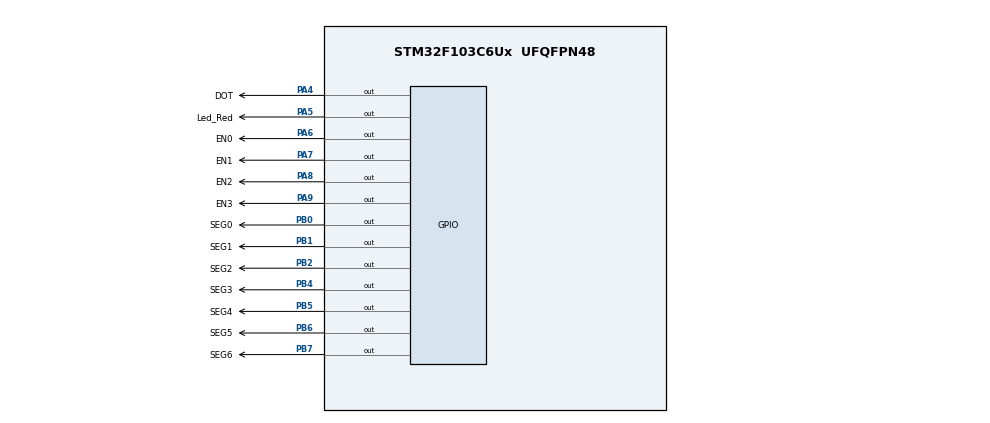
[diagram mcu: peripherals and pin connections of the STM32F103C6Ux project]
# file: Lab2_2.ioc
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Mcu.Family=STM32F1
Mcu.Name=STM32F103C6Ux
Mcu.Package=UFQFPN48
NVIC.PriorityGroup=NVIC_PRIORITYGROUP_4
NVIC.TIM2_IRQn=true\:0\:0\:false\:false\:true\:true\:true
PA4.GPIO_Label=DOT
PA4.Signal=GPIO_Output
PA5.GPIO_Label=Led_Red
PA5.Signal=GPIO_Output
PA6.GPIO_Label=EN0
PA6.Signal=GPIO_Output
PA7.GPIO_Label=EN1
PA7.Signal=GPIO_Output
PA8.GPIO_Label=EN2
PA8.Signal=GPIO_Output
PA9.GPIO_Label=EN3
PA9.Signal=GPIO_Output
PB0.GPIO_Label=SEG0
PB0.Signal=GPIO_Output
PB1.GPIO_Label=SEG1
PB1.Signal=GPIO_Output
PB2.GPIO_Label=SEG2
PB2.Signal=GPIO_Output
PB4.GPIO_Label=SEG3
PB4.Signal=GPIO_Output
PB5.GPIO_Label=SEG4
PB5.Signal=GPIO_Output
PB6.GPIO_Label=SEG5
PB6.Signal=GPIO_Output
PB7.GPIO_Label=SEG6
PB7.Signal=GPIO_Output
ProjectManager.HeapSize=0x200
ProjectManager.StackSize=0x400
ProjectManager.TargetToolchain=STM32CubeIDE
RCC.APB1Freq_Value=8000000
RCC.APB2Freq_Value=8000000
TIM2.Period=9 
TIM2.Prescaler=7999
VP_SYS_VS_ND.Mode=No_Debug
VP_TIM2_VS_ClockSourceINT.Mode=Internal
board=custom

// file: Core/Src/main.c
/* USER CODE BEGIN Header */
/**
  ******************************************************************************
  * @file           : main.c
  * @brief          : Main program body
  ******************************************************************************
  * @attention
  *
  * <h2><center>&copy; Copyright (c) 2022 STMicroelectronics.
  * All rights reserved.</center></h2>
  *
  * This software component is licensed by ST under BSD 3-Clause license,
  * the "License"; You may not use this file except in compliance with the
  * License. You may obtain a copy of the License at:
  *                        opensource.org/licenses/BSD-3-Clause
  *
  ******************************************************************************
  */
/* USER CODE END Header */
#include "main.h"

TIM_HandleTypeDef htim2;

void SystemClock_Config(void);
static void MX_GPIO_Init(void);
static void MX_TIM2_Init(void);

int main(void)
{

  /* MCU Configuration--------------------------------------------------------*/

  /* Reset of all peripherals, Initializes the Flash interface and the Systick. */
  HAL_Init();

  /* Configure the system clock */
  SystemClock_Config();

  /* Initialize all configured peripherals */
  MX_GPIO_Init();
  MX_TIM2_Init();
  /* USER CODE BEGIN 2 */
  HAL_TIM_Base_Start_IT (& htim2 ) ;
  /* USER CODE END 2 */

  /* Infinite loop */
  while (1)
  {

  }
}

void SystemClock_Config(void)
{
  RCC_OscInitTypeDef RCC_OscInitStruct = {0};
  RCC_ClkInitTypeDef RCC_ClkInitStruct = {0};

  /** Initializes the RCC Oscillators according to the specified parameters
  * in the RCC_OscInitTypeDef structure.
  */
  RCC_OscInitStruct.OscillatorType = RCC_OSCILLATORTYPE_HSI;
  RCC_OscInitStruct.HSIState = RCC_HSI_ON;
  RCC_OscInitStruct.HSICalibrationValue = RCC_HSICALIBRATION_DEFAULT;
  RCC_OscInitStruct.PLL.PLLState = RCC_PLL_NONE;
  if (HAL_RCC_OscConfig(&RCC_OscInitStruct) != HAL_OK)
  {
    Error_Handler();
  }
  /** Initializes the CPU, AHB and APB buses clocks
  */
  RCC_ClkInitStruct.ClockType = RCC_CLOCKTYPE_HCLK|RCC_CLOCKTYPE_SYSCLK
                              |RCC_CLOCKTYPE_PCLK1|RCC_CLOCKTYPE_PCLK2;
  RCC_ClkInitStruct.SYSCLKSource = RCC_SYSCLKSOURCE_HSI;
  RCC_ClkInitStruct.AHBCLKDivider = RCC_SYSCLK_DIV1;
  RCC_ClkInitStruct.APB1CLKDivider = RCC_HCLK_DIV1;
  RCC_ClkInitStruct.APB2CLKDivider = RCC_HCLK_DIV1;

  if (HAL_RCC_ClockConfig(&RCC_ClkInitStruct, FLASH_LATENCY_0) != HAL_OK)
  {
    Error_Handler();
  }
}

static void MX_TIM2_Init(void)
{

  TIM_ClockConfigTypeDef sClockSourceConfig = {0};
  TIM_MasterConfigTypeDef sMasterConfig = {0};

  htim2.Instance = TIM2;
  htim2.Init.Prescaler = 7999;
  htim2.Init.CounterMode = TIM_COUNTERMODE_UP;
  htim2.Init.Period = 9 ;
  htim2.Init.ClockDivision = TIM_CLOCKDIVISION_DIV1;
  htim2.Init.AutoReloadPreload = TIM_AUTORELOAD_PRELOAD_DISABLE;
  if (HAL_TIM_Base_Init(&htim2) != HAL_OK)
  {
    Error_Handler();
  }
  sClockSourceConfig.ClockSource = TIM_CLOCKSOURCE_INTERNAL;
  if (HAL_TIM_ConfigClockSource(&htim2, &sClockSourceConfig) != HAL_OK)
  {
    Error_Handler();
  }
  sMasterConfig.MasterOutputTrigger = TIM_TRGO_RESET;
  sMasterConfig.MasterSlaveMode = TIM_MASTERSLAVEMODE_DISABLE;
  if (HAL_TIMEx_MasterConfigSynchronization(&htim2, &sMasterConfig) != HAL_OK)
  {
    Error_Handler();
  }

}

static void MX_GPIO_Init(void)
{
  GPIO_InitTypeDef GPIO_InitStruct = {0};

  /* GPIO Ports Clock Enable */
  __HAL_RCC_GPIOA_CLK_ENABLE();
  __HAL_RCC_GPIOB_CLK_ENABLE();

  /*Configure GPIO pin Output Level */
  HAL_GPIO_WritePin(GPIOA, DOT_Pin|Led_Red_Pin|EN0_Pin|EN1_Pin
                          |EN2_Pin|EN3_Pin, GPIO_PIN_RESET);

  /*Configure GPIO pin Output Level */
  HAL_GPIO_WritePin(GPIOB, SEG0_Pin|SEG1_Pin|SEG2_Pin|SEG3_Pin
                          |SEG4_Pin|SEG5_Pin|SEG6_Pin, GPIO_PIN_RESET);

  /*Configure GPIO pins : DOT_Pin Led_Red_Pin EN0_Pin EN1_Pin
                           EN2_Pin EN3_Pin */
  GPIO_InitStruct.Pin = DOT_Pin|Led_Red_Pin|EN0_Pin|EN1_Pin
                          |EN2_Pin|EN3_Pin;
  GPIO_InitStruct.Mode = GPIO_MODE_OUTPUT_PP;
  GPIO_InitStruct.Pull = GPIO_NOPULL;
  GPIO_InitStruct.Speed = GPIO_SPEED_FREQ_LOW;
  HAL_GPIO_Init(GPIOA, &GPIO_InitStruct);

  /*Configure GPIO pins : SEG0_Pin SEG1_Pin SEG2_Pin SEG3_Pin
                           SEG4_Pin SEG5_Pin SEG6_Pin */
  GPIO_InitStruct.Pin = SEG0_Pin|SEG1_Pin|SEG2_Pin|SEG3_Pin
                          |SEG4_Pin|SEG5_Pin|SEG6_Pin;
  GPIO_InitStruct.Mode = GPIO_MODE_OUTPUT_PP;
  GPIO_InitStruct.Pull = GPIO_NOPULL;
  GPIO_InitStruct.Speed = GPIO_SPEED_FREQ_LOW;
  HAL_GPIO_Init(GPIOB, &GPIO_InitStruct);

}

/* USER CODE BEGIN 4 */
void display7SEG(int count);
int counter = 50;
int count= 1;
int led_status= 0;
void HAL_TIM_PeriodElapsedCallback ( TIM_HandleTypeDef * htim ){
	counter--;
	if(counter<=0){
		counter= 50;
		// den 1 sang , 3 off
		if(led_status== 0){
			HAL_GPIO_WritePin(EN0_GPIO_Port, EN0_Pin, RESET);
			HAL_GPIO_WritePin(EN1_GPIO_Port, EN1_Pin, SET);
			HAL_GPIO_WritePin(EN2_GPIO_Port, EN2_Pin, SET);
			HAL_GPIO_WritePin(EN3_GPIO_Port, EN3_Pin, SET);
			display7SEG(count);
		}
		// 2 sang
		else if(led_status== 1){
			HAL_GPIO_WritePin(EN0_GPIO_Port, EN0_Pin, SET);
			HAL_GPIO_WritePin(EN1_GPIO_Port, EN1_Pin, RESET);
			HAL_GPIO_WritePin(EN2_GPIO_Port, EN2_Pin, SET);
			HAL_GPIO_WritePin(EN3_GPIO_Port, EN3_Pin, SET);
			display7SEG(count);
		}
		//3 sang
		else if(led_status== 2){
			HAL_GPIO_WritePin(EN0_GPIO_Port, EN0_Pin, SET);
			HAL_GPIO_WritePin(EN1_GPIO_Port, EN1_Pin, SET);
			HAL_GPIO_WritePin(EN2_GPIO_Port, EN2_Pin, RESET);
			HAL_GPIO_WritePin(EN3_GPIO_Port, EN3_Pin, SET);
			display7SEG(count);
		}
		//4 sang
		else if(led_status== 3){
			HAL_GPIO_WritePin(EN0_GPIO_Port, EN0_Pin, SET);
			HAL_GPIO_WritePin(EN1_GPIO_Port, EN1_Pin, SET);
			HAL_GPIO_WritePin(EN2_GPIO_Port, EN2_Pin, SET);
			HAL_GPIO_WritePin(EN3_GPIO_Port, EN3_Pin, RESET);
			display7SEG(count);
		}
		// Hai den : sang khi count==0
		if(count==0||count==2){
			HAL_GPIO_WritePin(DOT_GPIO_Port, DOT_Pin, RESET);
		}
		else{
			HAL_GPIO_WritePin(DOT_GPIO_Port, DOT_Pin, SET);
		}
		count++;
		led_status++;
		// reset
		if(led_status>3){led_status=0;}
		if(count>3){count= 0;}
	}
}
void display7SEG( int counter){
	switch(counter){
	case 5:
		HAL_GPIO_WritePin(SEG0_GPIO_Port, SEG0_Pin, RESET);
		HAL_GPIO_WritePin(SEG1_GPIO_Port, SEG1_Pin, SET);
		HAL_GPIO_WritePin(SEG2_GPIO_Port, SEG2_Pin, RESET);
		HAL_GPIO_WritePin(SEG3_GPIO_Port, SEG3_Pin, RESET);
		HAL_GPIO_WritePin(SEG4_GPIO_Port, SEG4_Pin, SET);
		HAL_GPIO_WritePin(SEG5_GPIO_Port, SEG5_Pin, RESET);
		HAL_GPIO_WritePin(SEG6_GPIO_Port, SEG6_Pin, RESET);
		break;
	case 1:
		HAL_GPIO_WritePin(SEG0_GPIO_Port, SEG0_Pin, SET);
		HAL_GPIO_WritePin(SEG1_GPIO_Port, SEG1_Pin, RESET);
		HAL_GPIO_WritePin(SEG2_GPIO_Port, SEG2_Pin, RESET);
		HAL_GPIO_WritePin(SEG3_GPIO_Port, SEG3_Pin, SET);
		HAL_GPIO_WritePin(SEG4_GPIO_Port, SEG4_Pin, SET);
		HAL_GPIO_WritePin(SEG5_GPIO_Port, SEG5_Pin, SET);
		HAL_GPIO_WritePin(SEG6_GPIO_Port, SEG6_Pin, SET);
		break;
	case 2:
		HAL_GPIO_WritePin(SEG0_GPIO_Port, SEG0_Pin, RESET);
		HAL_GPIO_WritePin(SEG1_GPIO_Port, SEG1_Pin, RESET);
		HAL_GPIO_WritePin(SEG2_GPIO_Port, SEG2_Pin, SET);
		HAL_GPIO_WritePin(SEG3_GPIO_Port, SEG3_Pin, RESET);
		HAL_GPIO_WritePin(SEG4_GPIO_Port, SEG4_Pin, RESET);
		HAL_GPIO_WritePin(SEG5_GPIO_Port, SEG5_Pin, SET);
		HAL_GPIO_WritePin(SEG6_GPIO_Port, SEG6_Pin, RESET);
		break;
	case 3:
		HAL_GPIO_WritePin(SEG0_GPIO_Port, SEG0_Pin, RESET);
		HAL_GPIO_WritePin(SEG1_GPIO_Port, SEG1_Pin, RESET);
		HAL_GPIO_WritePin(SEG2_GPIO_Port, SEG2_Pin, RESET);
		HAL_GPIO_WritePin(SEG3_GPIO_Port, SEG3_Pin, RESET);
		HAL_GPIO_WritePin(SEG4_GPIO_Port, SEG4_Pin, SET);
		HAL_GPIO_WritePin(SEG5_GPIO_Port, SEG5_Pin, SET);
		HAL_GPIO_WritePin(SEG6_GPIO_Port, SEG6_Pin, RESET);
		break;
	case 4:
		HAL_GPIO_WritePin(SEG0_GPIO_Port, SEG0_Pin, SET);
		HAL_GPIO_WritePin(SEG1_GPIO_Port, SEG1_Pin, RESET);
		HAL_GPIO_WritePin(SEG2_GPIO_Port, SEG2_Pin, RESET);
		HAL_GPIO_WritePin(SEG3_GPIO_Port, SEG3_Pin, SET);
		HAL_GPIO_WritePin(SEG4_GPIO_Port, SEG4_Pin, SET);
		HAL_GPIO_WritePin(SEG5_GPIO_Port, SEG5_Pin, RESET);
		HAL_GPIO_WritePin(SEG6_GPIO_Port, SEG6_Pin, RESET);
		break;
	case 6:
		HAL_GPIO_WritePin(SEG0_GPIO_Port, SEG0_Pin, RESET);
		HAL_GPIO_WritePin(SEG1_GPIO_Port, SEG1_Pin, SET);
		HAL_GPIO_WritePin(SEG2_GPIO_Port, SEG2_Pin, RESET);
		HAL_GPIO_WritePin(SEG3_GPIO_Port, SEG3_Pin, RESET);
		HAL_GPIO_WritePin(SEG4_GPIO_Port, SEG4_Pin, RESET);
		HAL_GPIO_WritePin(SEG5_GPIO_Port, SEG5_Pin, RESET);
		HAL_GPIO_WritePin(SEG6_GPIO_Port, SEG6_Pin, RESET);
		break;
	case 7:
		HAL_GPIO_WritePin(SEG0_GPIO_Port, SEG0_Pin, RESET);
		HAL_GPIO_WritePin(SEG1_GPIO_Port, SEG1_Pin, RESET);
		HAL_GPIO_WritePin(SEG2_GPIO_Port, SEG2_Pin, RESET);
		HAL_GPIO_WritePin(SEG3_GPIO_Port, SEG3_Pin, SET);
		HAL_GPIO_WritePin(SEG4_GPIO_Port, SEG4_Pin, SET);
		HAL_GPIO_WritePin(SEG5_GPIO_Port, SEG5_Pin, SET);
		HAL_GPIO_WritePin(SEG6_GPIO_Port, SEG6_Pin, SET);
		break;
	case 8:
		HAL_GPIO_WritePin(SEG0_GPIO_Port, SEG0_Pin, RESET);
		HAL_GPIO_WritePin(SEG1_GPIO_Port, SEG1_Pin, RESET);
		HAL_GPIO_WritePin(SEG2_GPIO_Port, SEG2_Pin, RESET);
		HAL_GPIO_WritePin(SEG3_GPIO_Port, SEG3_Pin, RESET);
		HAL_GPIO_WritePin(SEG4_GPIO_Port, SEG4_Pin, RESET);
		HAL_GPIO_WritePin(SEG5_GPIO_Port, SEG5_Pin, RESET);
		HAL_GPIO_WritePin(SEG6_GPIO_Port, SEG6_Pin, RESET);
		break;
	case 9:
		HAL_GPIO_WritePin(SEG0_GPIO_Port, SEG0_Pin, RESET);
		HAL_GPIO_WritePin(SEG1_GPIO_Port, SEG1_Pin, RESET);
		HAL_GPIO_WritePin(SEG2_GPIO_Port, SEG2_Pin, RESET);
		HAL_GPIO_WritePin(SEG3_GPIO_Port, SEG3_Pin, RESET);
		HAL_GPIO_WritePin(SEG4_GPIO_Port, SEG4_Pin, SET);
		HAL_GPIO_WritePin(SEG5_GPIO_Port, SEG5_Pin, RESET);
		HAL_GPIO_WritePin(SEG6_GPIO_Port, SEG6_Pin, RESET);
		break;
	case 0:
		HAL_GPIO_WritePin(SEG0_GPIO_Port, SEG0_Pin, RESET);
		HAL_GPIO_WritePin(SEG1_GPIO_Port, SEG1_Pin, RESET);
		HAL_GPIO_WritePin(SEG2_GPIO_Port, SEG2_Pin, RESET);
		HAL_GPIO_WritePin(SEG3_GPIO_Port, SEG3_Pin, RESET);
		HAL_GPIO_WritePin(SEG4_GPIO_Port, SEG4_Pin, RESET);
		HAL_GPIO_WritePin(SEG5_GPIO_Port, SEG5_Pin, RESET);
		HAL_GPIO_WritePin(SEG6_GPIO_Port, SEG6_Pin, SET);
		break;
	default:
	break;
	}
}
/* USER CODE END 4 */

void Error_Handler(void)
{
  __disable_irq();
  while (1)
  {
  }
}

/************************ (C) COPYRIGHT STMicroelectronics *****END OF FILE****/
